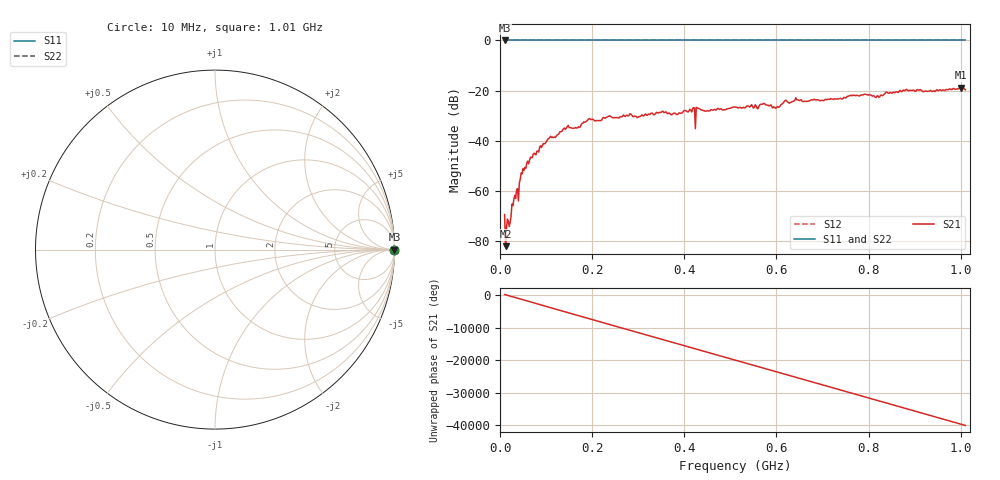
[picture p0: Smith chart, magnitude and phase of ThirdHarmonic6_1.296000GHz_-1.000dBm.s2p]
! 8/16/2025 2:13:29 PM
! C:\ANRITSUVNA\TEMP\TEMP.S2P
! CHANNEL.1
! TR.MEASUREMENT
! RAW.DATA
! RF.CORRECTION.OFF
! AVERAGING.OFF
! IF.BANDWIDTH: 5KHZ
! SWEEPTYPE:  FREQ.SWEEP(Linear)
! Reference Plane Port Info
! PORT:  PORT1  PORT2
! DISTANCE:  0  m  0  m
! TIME:  0  s  0  s
! PHASE.OFFSET:  0  deg.  0  deg.
! LOSS:  0  dB  0  dB
! REF.LOSS:  0  dB  0  dB
! REF.FREQ:  0  Hz  0  Hz
! Power Info
! POWER:  -20  dBm  -20  dBm
! EFF.POWER:  -20  dBm  -20  dBm
! SOURCE.ATTEN:  0  dB  0  dB
! TEST.ATTEN:  0  dB  0  dB
# GHZ S RI R 50.0
! FREQ.GHZ  S11RE  S11IM  S21RE  S21IM  S12RE  S12IM  S22RE  S22IM
!; PortSelection: Port_12
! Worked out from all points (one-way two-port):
!   501 points, 10 MHz to 1.01 GHz, reference 50 ohm
!   highest |S21| = -18.79 dB at 1 GHz (marker M1); lowest = -82.1 dB at 12 MHz (marker M2)
!   lowest |S11| = 0.0 dB at 10 MHz (marker M3)
!   |S11| at or under -10 dB: nowhere
!   |S22| runs from 0.0 to 0.0 dB; largest |S21 - S12| = 1.1
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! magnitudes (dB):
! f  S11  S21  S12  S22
! 10 MHz  0.0  -69.5  0.0  0.0
! 12 MHz  0.0  -82.1  0.0  0.0
! 16 MHz  0.0  -71.4  0.0  0.0
! 24 MHz  0.0  -70.1  0.0  0.0
! 30 MHz  0.0  -63.6  0.0  0.0
! 38 MHz  0.0  -59.2  0.0  0.0
! 50 MHz  0.0  -51.2  0.0  0.0
! 70 MHz  0.0  -46.8  0.0  0.0
! 108 MHz  0.0  -38.7  0.0  0.0
! 144 MHz  0.0  -35.0  0.0  0.0
! 178 MHz  0.0  -33.1  0.0  0.0
! 196 MHz  0.0  -31.5  0.0  0.0
! 344 MHz  0.0  -29.0  0.0  0.0
! 510 MHz  0.0  -26.6  0.0  0.0
! 570 MHz  0.0  -25.4  0.0  0.0
! 602 MHz  0.0  -26.4  0.0  0.0
! 620 MHz  0.0  -23.8  0.0  0.0
! 678 MHz  0.0  -23.7  0.0  0.0
! 818 MHz  0.0  -22.2  0.0  0.0
! 844 MHz  0.0  -21.1  0.0  0.0
! 1 GHz  0.0  -18.8  0.0  0.0
! 1.01 GHz  0.0  -19.7  0.0  0.0
